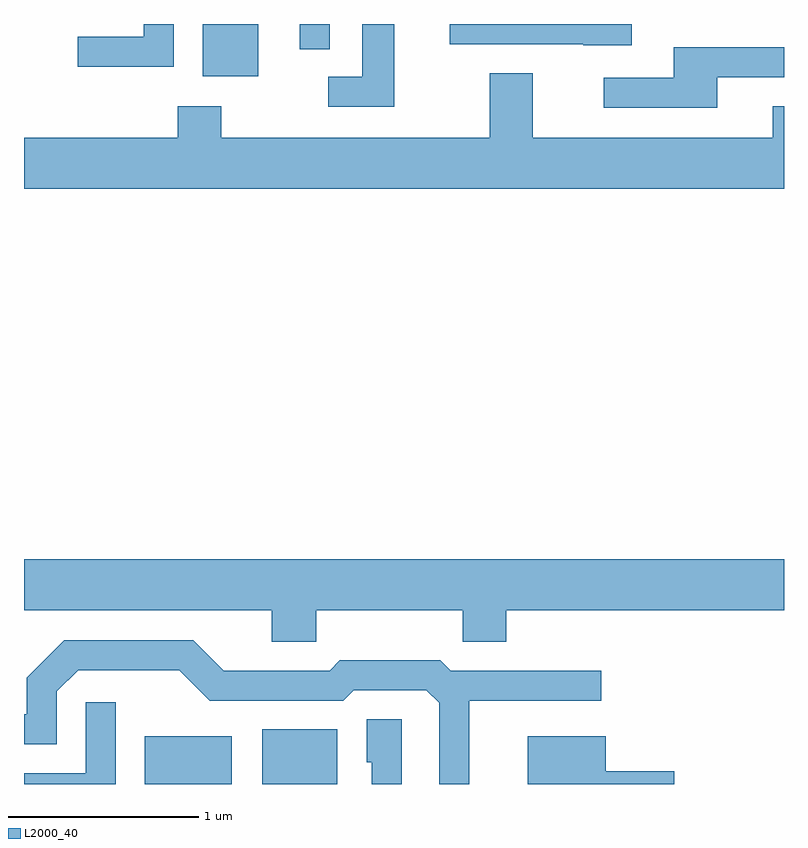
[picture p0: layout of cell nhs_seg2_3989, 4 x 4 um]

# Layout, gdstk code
import gdstk
lib = gdstk.Library(unit=1e-6, precision=1e-09)
def R(c, l, rs):  # rectangles x0, y0, x1, y1
    for r in rs: c.add(gdstk.rectangle(r[:2], r[2:], *l))
def P(c, l, *ps):  # polygons
    for p in ps: c.add(gdstk.Polygon(p, *l))
L2000_40 = (2000, 40)

nhs_seg2_3989 = lib.new_cell('nhs_seg2_3989')
R(nhs_seg2_3989, L2000_40, [(302.246,1091.802,302.704,1092.054), (302.866,1091.802,303.259,1092.089), (302.551,1095.526,302.844,1095.802), (303.061,1095.668,303.219,1095.802)])
P(nhs_seg2_3989, L2000_40, [(303.559,1095.802),(303.391,1095.802),(303.391,1095.524),(303.213,1095.524),(303.213,1095.366),(303.559,1095.366)],
  [(302.399,1095.802),(302.241,1095.802),(302.241,1095.734),(301.893,1095.734),(301.893,1095.576),(302.399,1095.576)],
  [(304.809,1095.802),(303.851,1095.802),(303.851,1095.696),(304.555,1095.696),(304.555,1095.691),(304.809,1095.691)],
  [(305.259,1095.521),(305.611,1095.521),(305.611,1095.679),(305.031,1095.679),(305.031,1095.519),(304.663,1095.519),(304.663,1095.361),(305.259,1095.361)],
  [(305.611,1095.369),(305.551,1095.369),(305.551,1095.204),(304.289,1095.204),(304.289,1095.544),(304.061,1095.544),(304.061,1095.204),(302.649,1095.204),(302.649,1095.369),(302.421,1095.369),(302.421,1095.204),(301.611,1095.204),(301.611,1094.936),(305.611,1094.936)],
  [(303.149,1092.716),(303.921,1092.716),(303.921,1092.551),(304.149,1092.551),(304.149,1092.716),(305.611,1092.716),(305.611,1092.984),(301.611,1092.984),(301.611,1092.716),(302.916,1092.716),(302.916,1092.551),(303.149,1092.551)],
  [(303.954,1092.241),(304.648,1092.241),(304.648,1092.399),(303.857,1092.399),(303.802,1092.454),(303.274,1092.454),(303.219,1092.399),(302.662,1092.399),(302.502,1092.559),(301.824,1092.559),(301.626,1092.362),(301.626,1092.169),(301.611,1092.169),(301.611,1092.011),(301.784,1092.011),(301.784,1092.289),(301.897,1092.401),(302.429,1092.401),(302.589,1092.241),(303.292,1092.241),(303.347,1092.296),(303.729,1092.296),(303.796,1092.229),(303.796,1091.802),(303.954,1091.802)],
  [(302.094,1092.233),(301.936,1092.233),(301.936,1091.859),(301.611,1091.859),(301.611,1091.802),(302.094,1091.802)],
  [(303.599,1092.144),(303.416,1092.144),(303.416,1091.916),(303.441,1091.916),(303.441,1091.802),(303.599,1091.802)],
  [(305.034,1091.869),(304.674,1091.869),(304.674,1092.054),(304.261,1092.054),(304.261,1091.802),(305.034,1091.802)])

lib.write_gds('nhs_seg2_3989.gds')
